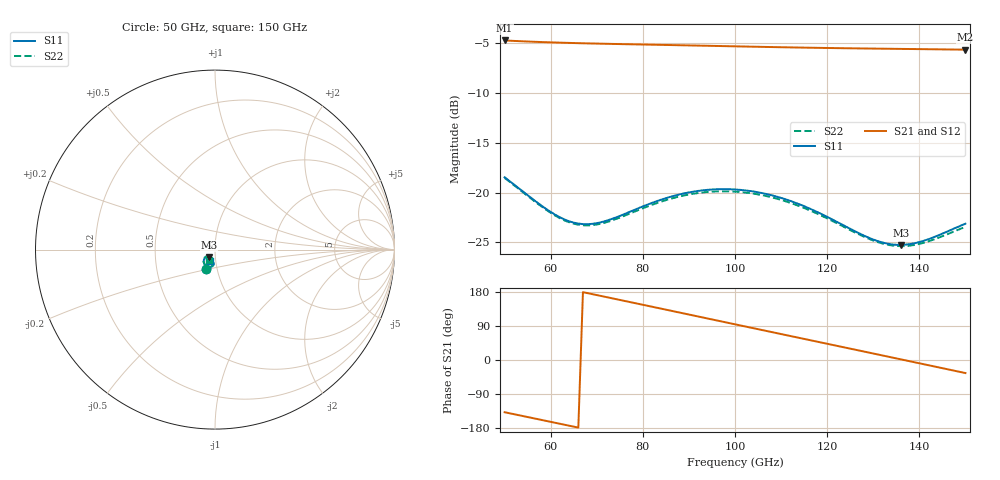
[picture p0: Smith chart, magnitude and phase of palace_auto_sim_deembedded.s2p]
! Created with skrf 1.11.0 (http://scikit-rf.org).
# GHz S DB R 50.0
!freq dBS11 angS11 dBS21 angS21 dBS12 angS12 dBS22 angS22
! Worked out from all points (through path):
!   101 points, 50 GHz to 150 GHz, reference 50 ohm
!   highest |S21| = -4.71 dB at 50 GHz (marker M1); lowest = -5.6 dB at 150 GHz (marker M2)
!   group delay of S21, straight-line fit = 7.13 ps
!   lowest |S11| = -25.3 dB at 136 GHz (marker M3), VSWR 1.12, Z = 46.6 - j4.08 ohm
!   |S11| at or under -10 dB: start of sweep to end of sweep
!   |S22| runs from -25.4 to -18.5 dB; largest |S21 - S12| = 9.4e-14
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50  -18.46 -114.7  -4.71 -137.8  -4.71 -137.8  -18.53 -115.2
55  -20.26 -117.2  -4.82 -150.5  -4.82 -150.5  -20.34 -117.8
59  -21.64 -115.7  -4.88 -160.7  -4.88 -160.7  -21.72 -116.5
63  -22.70 -111.1  -4.94 -170.8  -4.94 -170.8  -22.79 -112.1
67  -23.16 -104.6  -4.99 179.0  -4.99 179.0  -23.28 -105.7
71  -22.97 -98.7  -5.03 168.8  -5.03 168.8  -23.11 -99.9
75  -22.34 -95.4  -5.07 158.6  -5.07 158.6  -22.51 -96.7
79  -21.58 -95.1  -5.11 148.3  -5.11 148.3  -21.76 -96.5
84  -20.71 -98.0  -5.15 135.4  -5.15 135.4  -20.90 -99.4
92  -19.83 -107.0  -5.22 114.8  -5.22 114.8  -20.04 -108.6
96  -19.67 -112.5  -5.26 104.5  -5.26 104.5  -19.88 -114.2
100  -19.69 -118.3  -5.30 94.2  -5.30 94.2  -19.90 -120.0
104  -19.89 -123.9  -5.34 83.9  -5.34 83.9  -20.10 -125.8
108  -20.27 -129.2  -5.37 73.6  -5.37 73.6  -20.48 -131.2
112  -20.83 -133.9  -5.41 63.4  -5.41 63.4  -21.03 -136.0
117  -21.77 -138.4  -5.44 50.5  -5.44 50.5  -21.94 -140.7
126  -23.87 -139.5  -5.50 27.4  -5.50 27.4  -23.99 -142.4
130  -24.71 -136.0  -5.53 17.1  -5.53 17.1  -24.81 -139.4
134  -25.20 -130.3  -5.55 6.8  -5.55 6.8  -25.31 -134.3
136  -25.25 -127.1  -5.56 1.7  -5.56 1.7  -25.38 -131.3
143  -24.50 -117.9  -5.60 -16.4  -5.60 -16.4  -24.74 -122.8
150  -23.12 -115.9  -5.63 -34.5  -5.63 -34.5  -23.44 -120.9
